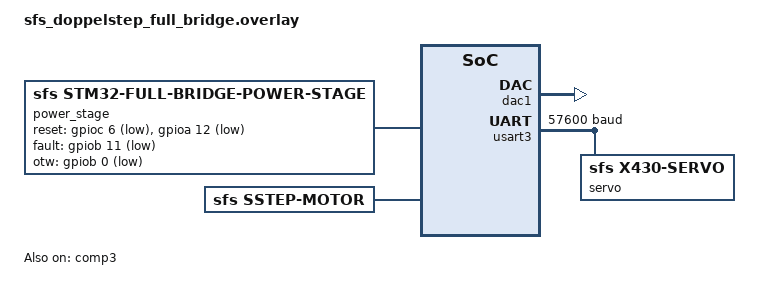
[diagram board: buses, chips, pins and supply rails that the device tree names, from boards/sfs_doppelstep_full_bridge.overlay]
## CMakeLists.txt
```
# SPDX-License-Identifier: Apache-2.0
#
# Doppelstep: stepper motor controller on B-G431B-ESC1 that answers as a
# DYNAMIXEL XM430-W350 (Protocol 2.0).

cmake_minimum_required(VERSION 3.20.0)

find_package(Zephyr REQUIRED HINTS $ENV{ZEPHYR_BASE})
project(doppelstep LANGUAGES C)

target_sources(app PRIVATE
  src/main.c
  src/app_msg.c
  src/control_task.c
  src/comm_task.c
  src/joint.c
  src/joint_bridge.c
  src/supervisor.c
  src/status_led.c
)

target_sources_ifdef(CONFIG_POWER_STAGE_SIM app PRIVATE src/sim_log.c)
# Encoder of the joint: only with chosen sfs,encoder (control_task.c)
dt_chosen(sfs_encoder_path PROPERTY "sfs,encoder")
if(sfs_encoder_path)
  target_sources(app PRIVATE src/enc_track.c)
endif()

target_link_libraries(app PRIVATE x430)

# doppelstep_config.h: factory Control Table and driver data of this build, generated
# from the devicetree (it changes only at configure time). Look, do not edit.
set(doppelstep_config_h ${CMAKE_BINARY_DIR}/doppelstep/doppelstep_config.h)
execute_process(
  COMMAND ${CMAKE_COMMAND} -E env ZEPHYR_BASE=${ZEPHYR_BASE}
          ${PYTHON_EXECUTABLE} ${CMAKE_CURRENT_LIST_DIR}/../scripts/gen_doppelstep_config.py
          --edt-pickle ${EDT_PICKLE}
          --x430-dir ${X430_SOURCE_DIR}
          --model ${CONFIG_X430_MODEL_NAME}
          --overrides "${X430_MODEL_OVERRIDES}"
          --output ${doppelstep_config_h}
  RESULT_VARIABLE doppelstep_config_result)
if(NOT doppelstep_config_result EQUAL 0)
  message(FATAL_ERROR "scripts/gen_doppelstep_config.py failed")
endif()
set_property(DIRECTORY APPEND PROPERTY CMAKE_CONFIGURE_DEPENDS
  ${CMAKE_CURRENT_LIST_DIR}/../scripts/gen_doppelstep_config.py)
message(STATUS "Doppelstep factory values: ${doppelstep_config_h}")
# doppelstep_version.h (root CMakeLists.txt): the version in the startup log
add_dependencies(app doppelstep_version)
```

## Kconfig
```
# SPDX-License-Identifier: Apache-2.0
#
# Doppelstep application options. Motor, power stage and control parameters
# are properties of the devicetree nodes (app/boards/*.overlay).

mainmenu "Doppelstep"

config SFS_STAGE_OFFSET_SAMPLES
	int "Samples averaged for the current sensor offsets at startup"
	default 1024
	range 16 65535

rsource "Kconfig.app_msg"

menu "Encoder of the joint (chosen sfs,encoder)"

config SFS_ENC_LOST_STEP_USTEPS
	int "Lost step: |commanded - measured| above [microsteps]"
	default 32
	help
	  Beyond two full steps the torque of a stepper turns round: the rotor
	  has slipped. Reported as Overload Error in Hardware Error Status.

config SFS_ENC_SETTLE_MS
	int "Holding time after Torque Enable before the alignment [ms]"
	default 100
	help
	  The rotor snaps to the field at the enable (up to two full steps);
	  then the commanded position is set to the measured one.

config SFS_ENC_CORRECT_MS
	int "Period of the position regulator at standstill [ms]"
	default 10

config SFS_ENC_CORRECTION_MAX_USTEPS
	int "Largest lead of the regulator over the goal [microsteps]"
	default 16
	help
	  One full step: the load angle of the largest holding torque.

endmenu

config SFS_STATUS_LED_BRIGHTNESS
	int "Brightness of the STATUS LED on an LED strip (red, 1..255)"
	default 32
	range 1 255
	help
	  Only for a STATUS LED on an LED strip (chosen sfs,status-led-strip).
	  32 is an eighth of the full current of the red channel.

menu "Threads"

config SFS_CONTROL_THREAD_PRIORITY
	int "Control task priority"
	default -2
	help
	  Cooperative (negative) so that the slow loop is never preempted by
	  another thread.

config SFS_CONTROL_THREAD_STACK_SIZE
	int "Control task stack size"
	default 1536

config SFS_COMM_THREAD_PRIORITY
	int "Communication task priority"
	default 2

config SFS_COMM_THREAD_STACK_SIZE
	int "Communication task stack size"
	default 3584
	help
	  Sized for the X430 emulator 1.0.0, whose status answer put two
	  buffers of CONFIG_X430_DXL2_MAX_PACKET_SIZE on this stack (DXL2-C
	  link). Since 1.1.0 the emulator builds the status packet in place, in
	  its bus instance (x430_servo_data), not on the stack. The size stays
	  until the stack usage is measured on the bench.

endmenu

menu "Supervisor"

config SFS_WATCHDOG
	bool "Hardware watchdog, fed only while every task runs"
	default y
	depends on WATCHDOG && $(dt_alias_enabled,watchdog0)
	select HWINFO
	help
	  main() feeds the watchdog only when the control and the communication
	  task have both run since the last check (src/supervisor.h). A fast
	  loop that leaves the threads no time, or a task that hangs, resets the
	  MCU, which switches the outputs off. The log tells a watchdog reset.

config SFS_WATCHDOG_TIMEOUT_MS
	int "Watchdog timeout [ms]"
	default 500
	range 200 5000
	depends on SFS_WATCHDOG
	help
	  Longer than the longest normal pause of a task: a flash page erase of
	  the EEPROM area stalls the CPU for about 20 ms.

config SFS_WATCHDOG_CHECK_MS
	int "Period of the check in main() [ms]"
	default 100
	range 10 1000

endmenu

module = SFS
module-str = doppelstep
source "subsys/logging/Kconfig.template.log_config"

source "Kconfig.zephyr"
```

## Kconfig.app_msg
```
# SPDX-License-Identifier: Apache-2.0
#
# Queues between the communication and the control task (src/app_msg.h).

config SFS_CMD_TIMEOUT_MS
	int "Time a command waits for its result [ms]"
	default 50
	help
	  After it the host gets Result Fail. A command already in the queue may
	  still execute later; the log records the timeout. Torque Enable does not
	  wait for the self-test (CONFIG_SSTEP_MOTOR_SELFTEST): the motor driver
	  ends it in the slow loop.

config SFS_STATUS_PERIOD_MS
	int "Period of the status publication [ms]"
	default 1
	range 1 1000
	help
	  The status is also published after every command. On a core without an
	  FPU reading it can be expensive with stall detection on: see
	  docs/porting.md.

module = APP_MSG
module-str = app_msg
source "subsys/logging/Kconfig.template.log_config"
```

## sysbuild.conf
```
# SPDX-License-Identifier: Apache-2.0
#
# Sysbuild configuration of the board build (west build --sysbuild): MCUboot in
# boot_partition, the signed application in slot0_partition, serial recovery on
# USART2 (docs/firmware-update.md). native_sim builds do not use sysbuild.

SB_CONFIG_BOOTLOADER_MCUBOOT=y

# One application slot: serial recovery writes slot 0 directly.
SB_CONFIG_MCUBOOT_MODE_SINGLE_APP=y

# Signature: sysbuild default (RSA-2048) with the MCUboot development key, which
# is public and only fit for development. Own key: SB_CONFIG_BOOT_SIGNATURE_KEY_FILE.
```

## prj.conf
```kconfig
# SPDX-License-Identifier: Apache-2.0
#
# Doppelstep application configuration, common to every board. Board-specific
# options: boards/<board>.conf (merged by Zephyr automatically).

# --- Libraries (glue in modules/) --------------------------
# The power stage node of the devicetree selects the topology of Stepper-C
# (modules/stepper-c/Kconfig): only the one the board uses is built.
# The motor node sets no stall time: the stall detection of Stepper-C is not used
CONFIG_SSTEP_STALL=n

CONFIG_X430_MODEL_XM430_W350=y
CONFIG_X430_MAX_DEVICES=1
CONFIG_X430_SIMULATOR=n
# DYNAMIXEL Wizard 2.0 reads the whole XM430 Control Table (addresses 0..661) in
# one READ of 662 bytes: status packet 673 bytes before byte stuffing. 256 bytes
# (default) allowed reads up to 245 bytes, and the Wizard showed TIME OUT.
# 768 leaves 95 bytes for stuffing. Two buffers of this size are in RAM (in
# x430_servo_data): the receive buffer of DXL2-C, in which it also decodes the
# packet (DXL2-C 2.0.0), and the status packet the X430 bus builds in place.
CONFIG_X430_DXL2_MAX_PACKET_SIZE=768
# Voltage limit ranges above the 16 V of an XM430 (the board runs at 24 V)
CONFIG_X430_MODEL_OVERRIDES="x430_overrides.yaml"

# --- STATUS LED --------------------------------------------------------------
CONFIG_GPIO=y

# --- Persistent EEPROM area of the emulated DYNAMIXEL ------------------------
CONFIG_FLASH=y
CONFIG_FLASH_MAP=y
CONFIG_NVS=y

# --- Logging -----------------------------------------------------------------
CONFIG_LOG=y
# No log prints a float. Without it picolibc links printf without floating point
# (the double printf with its Ryu tables was about 5 KiB of flash).
CONFIG_CBPRINTF_FP_SUPPORT=n
# Minimal logging: each message is printed at once through printk on the console
# of the board, in the context of the caller, without the deferred log thread,
# its buffer and the log backends (about 9.8 KB of flash and 2.3 KB of RAM on the
# full-bridge board). No timestamps, no colors. native_sim keeps its immediate
# mode (boards/native_sim_native_64.conf).
CONFIG_LOG_MODE_MINIMAL=y
# Small printf core: the logs use only %d, %u, %ld, %x with width, %c and %s
# (about 0.7 KB)
CONFIG_CBPRINTF_NANO=y
# No "*** Booting Zephyr OS ***" line: main.c logs "Doppelstep <version> on
# <board>" (about 1.2 KB)
CONFIG_BOOT_BANNER=n

# --- Debugging: thread awareness for OpenOCD / J-Link / gdb ------------------
CONFIG_DEBUG_THREAD_INFO=y
CONFIG_THREAD_NAME=y

CONFIG_MAIN_STACK_SIZE=2048
```

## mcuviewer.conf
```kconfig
# SPDX-License-Identifier: Apache-2.0
#
# Bench build for measurements with MCUViewer (docs/measurements.md):
#
#   west build -b b_g431b_esc1 -s app -d build-mcuviewer -- -DEXTRA_CONF_FILE=mcuviewer.conf
#
# Never for a release: the option is off by default.

CONFIG_SSTEP_MOTOR_MCUVIEWER=y
CONFIG_SSTEP_MOTOR_MCUVIEWER_SAMPLES=1024
```

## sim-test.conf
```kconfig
# SPDX-License-Identifier: Apache-2.0
#
# native_sim build of the SIL and integration tests (tests/README.md): the
# model log line every 100 ms gives the tests the rotor position, speed and
# currents of the simulated motor.

CONFIG_SFS_SIM_LOG_PERIOD_MS=100
```

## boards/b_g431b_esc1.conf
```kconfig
# SPDX-License-Identifier: Apache-2.0
#
# Doppelstep on B-G431B-ESC1 (merged with prj.conf).

# --- Cortex-M4F: FPU in threads and in the fast-loop interrupt ---------------
CONFIG_FPU=y
CONFIG_FPU_SHARING=y

# Fast loop (ADC end of sequence) above the kernel's interrupt locking
CONFIG_ZERO_LATENCY_IRQS=y

# --- Peripherals -------------------------------------------------------------
CONFIG_OPAMP=y

# IWDG, fed only while every task runs (app/src/supervisor.h)
CONFIG_WATCHDOG=y

# NVS erases and writes the internal flash
CONFIG_MPU_ALLOW_FLASH_WRITE=y

# --- Console and logging over RTT (USART2 is the DYNAMIXEL bus) --------------
CONFIG_UART_CONSOLE=n
CONFIG_USE_SEGGER_RTT=y
CONFIG_RTT_CONSOLE=y
# Minimal logging (prj.conf) has no log backends: printk writes to this console.
# It prints in the caller, also in the control task: when
# the RTT buffer is full, drop the characters instead of waiting for the host
# (the default waits up to 2 x 2 ms with a debugger attached).
CONFIG_RTT_TX_RETRY_CNT=0
```

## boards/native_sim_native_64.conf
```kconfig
# SPDX-License-Identifier: Apache-2.0
#
# Doppelstep on native_sim/native/64: the firmware as a Linux program, the
# simulated motor (sfs,sim-power-stage in the overlay), the DYNAMIXEL bus
# on a pseudoterminal (uart1). Merged with prj.conf.

# 1 ms tick = slow-loop period; the simulation backend runs the 20 fast-loop
# periods (20 kHz PWM of the ESC1) of each tick in one timer expiry
CONFIG_SYS_CLOCK_TICKS_PER_SEC=1000

# Logs on stdout of the program
CONFIG_LOG_BACKEND_NATIVE_POSIX=y
CONFIG_LOG_MODE_IMMEDIATE=y
```

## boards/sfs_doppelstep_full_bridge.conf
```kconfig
# SPDX-License-Identifier: Apache-2.0
#
# Doppelstep on the full-bridge board with the DRV8412 (merged with prj.conf).

# --- Cortex-M4F: FPU in threads and in the fast-loop interrupt ---------------
CONFIG_FPU=y
CONFIG_FPU_SHARING=y

# Fast loop (ADC end of sequence) above the kernel's interrupt locking
CONFIG_ZERO_LATENCY_IRQS=y

# --- Peripherals -------------------------------------------------------------
# OPAMP1/2 standalone, gain from the board
CONFIG_OPAMP=y

# Encoder of the joint: MA730 on SPI2 (drivers/ma730), through the sensor API
CONFIG_SENSOR=y

# STATUS LED: first WS2812B of the chain (drivers/ws2812, TIM2 CH2 with DMA)
CONFIG_LED_STRIP=y

# IWDG, fed only while every task runs (app/src/supervisor.h)
CONFIG_WATCHDOG=y

# NVS erases and writes the internal flash
CONFIG_MPU_ALLOW_FLASH_WRITE=y

# --- Console and logging over RTT (USART3 on J4 is the DYNAMIXEL bus) --------
CONFIG_UART_CONSOLE=n
CONFIG_USE_SEGGER_RTT=y
CONFIG_RTT_CONSOLE=y
# Minimal logging (prj.conf) has no log backends: printk writes to this console.
# It prints in the caller, also in the control task: when
# the RTT buffer is full, drop the characters instead of waiting for the host
# (the default waits up to 2 x 2 ms with a debugger attached).
CONFIG_RTT_TX_RETRY_CNT=0
```

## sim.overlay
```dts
/*
 * SPDX-License-Identifier: Apache-2.0
 *
 * Simulated motor on the board: the fast-loop interrupt of the real power stage
 * keeps its timing, Stepper-C drives a motor model and the gate drivers stay off.
 *   west build -b b_g431b_esc1 app -- -DEXTRA_DTC_OVERLAY_FILE=sim.overlay
 * See docs/simulation.md.
 */

/ {
	sim_stage: sim-power-stage {
		compatible = "sfs,sim-power-stage";
		timebase = <&power_stage>;
		microsteps = <16>;
		full-steps-per-rev = <200>;
	};
};

&motor {
	power-stage = <&sim_stage>;
};

/* The real stage is only the timebase here, its outputs stay off: no hardware
 * trips and no offset check (they need flash the simulated motor has not got).
 */
&power_stage {
	/delete-property/ hw-trip-current-milliamp;
	/delete-property/ hw-trip-current-comparators;
	/delete-property/ hw-trip-vbus-mv;
	/delete-property/ hw-trip-vbus-comparator;
	/delete-property/ current-offset-min-counts;
	/delete-property/ current-offset-max-counts;
};

/* Without the hardware trips their comparators and DACs are not built */
&comp1 {
	status = "disabled";
};

&comp2 {
	status = "disabled";
};

&comp3 {
	status = "disabled";
};

&comp4 {
	status = "disabled";
};

&dac1 {
	status = "disabled";
};

&dac3 {
	status = "disabled";
};
```

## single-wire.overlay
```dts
/*
 * SPDX-License-Identifier: Apache-2.0
 *
 * DYNAMIXEL bus on one wire (TTL half-duplex, like the X series): USART2 in
 * single-wire mode on PB3 (pad J3-2), open-drain, for the shared bus of the arm.
 *   west build --sysbuild -b b_g431b_esc1 -s app -- -DEXTRA_DTC_OVERLAY_FILE=single-wire.overlay
 *
 * Every device only pulls the line low; the single pull-up of the bus is at the
 * master (the bus interface of the Robot PC). PB4 (J3-3) stays unused. The ST-LINK
 * virtual COM port shares PB3/PB4 (R23/R24): leave its USB unplugged on the bus.
 * The drive receives the echo of its own bytes; the X430 bus decodes it as a status
 * packet and ignores it. MCUboot keeps the full-duplex UART (serial recovery over
 * the ST-LINK virtual COM port). See docs/hardware.md, "The DYNAMIXEL bus".
 */

&usart2 {
	single-wire;
	pinctrl-0 = <&usart2_tx_pb3>;
	pinctrl-names = "default";
};

&usart2_tx_pb3 {
	/delete-property/ drive-push-pull;
	drive-open-drain;
	bias-pull-up;
};
```

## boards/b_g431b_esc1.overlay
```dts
/*
 * SPDX-License-Identifier: Apache-2.0
 *
 * Doppelstep on B-G431B-ESC1.
 */

/ {
	chosen {
		/* USART2 carries the DYNAMIXEL bus; console and logs go to RTT. */
		/delete-property/ zephyr,console;
		/delete-property/ zephyr,shell-uart;
		sfs,servo = &servo;
		sfs,motor = &motor;
	};

	power_stage: power-stage {
		compatible = "sfs,stm32-shared-leg-power-stage";
		pinctrl-0 = <&tim1_ch1_pa8 &tim1_ch1n_pc13
			     &tim1_ch2_pa9 &tim1_ch2n_pa12
			     &tim1_ch3_pa10 &tim1_ch3n_pb15
			     &adc1_in1_pa0 &adc1_in5_pb14>;
		pinctrl-names = "default";

		timer = <&timers1>;
		adc-master = <&adc1>;
		adc-slave = <&adc2>;
		opamps = <&opamp1 &opamp2 &opamp3>;
		opamp-gain = "OPAMP_GAIN_16";

		/* 20 kHz: TIM1 at 170 MHz, center-aligned, ARR = 4250 */
		pwm-frequency = <20000>;

		/*
		 * Dead time of the ESC1 bridge (0 = not set: outputs refused).
		 * Source: ngspice sweep of one leg (sfs-stepper-power-spice) with
		 * the gate circuit of schematic MB1419 rev C: L6387ED at 10 V,
		 * 33 Ohm gate resistors without turn-off diode, 10k G-S, snubber
		 * 1 Ohm + 10 nF; 24 V, 20 kHz, 25 and 100 degC, -3..+3 A.
		 * Shoot-through up to 600 ns; from 900 ns the Miller bump on the
		 * off gate stays under VGS(th) 3 V. 1200 ns = 900 ns x 1.3 margin
		 * for VGS(th) spread, driver delay mismatch and the fitted MOSFET
		 * model. Reduce only after measuring VGS on the board
		 * (docs/hardware.md, bring-up step 1).
		 */
		dead-time-ns = <1200>;

		/* Low-side time around the top of the counter for the samples: before
		 * the ADC trigger the dead time (1.2 us) and about 1 us of settling,
		 * after it the sampling phases: U x4 (ADC1) and V x4 (ADC2) to 1.5 us,
		 * then W (ADC1) and VBUS (ADC2) to about 2.1 us. Without
		 * it a duty cycle near 100 % (a 1 A current step at 12 V) corrupted the
		 * VBUS sample and tripped the undervoltage protection on the board.
		 * 2400 ns = 408 of 4250 ticks: the voltage limit drops by 9.6 %.
		 */
		sample-window-ns = <2400>;

		/* OP1_OUT PA2 = ADC1_IN3, OP2_OUT PA6 = ADC2_IN3,
		 * OP3_OUT PB1 = ADC1_IN12, VBUS PA0 = ADC12_IN1 (converted by ADC2)
		 */
		phase-u-channel = <3>;
		phase-v-channel = <3>;
		phase-w-channel = <12>;
		vbus-channel = <1>;

		/* Power stage temperature (schematic MB1419 rev C, sheets 4 and 6):
		 * +3.3 V - RT1 NTC - PB14 (ADC1_IN5) - R60 4.7k - GND, C66 10 nF.
		 * RT1 = TDK NTCG103JF103FT1: R25 10 kOhm +-1 %, B25/85 3435 K +-1 %
		 * (B25/50 3380 K; B25/85 fits the 80 degC Temperature Limit).
		 */
		temperature-channel = <5>;
		/* Factory Temperature Limit (31): 80 degC, as before (XM430 value) */
		temperature-limit-celsius = <80>;
		ntc-r25-ohm = <10000>;
		ntc-beta = <3435>;
		ntc-bottom-ohm = <4700>;

		adc-vref-mv = <3300>;

		/* 3 mOhm shunts, -64/7 = -9.143 V/V (MCSDK, NuttX, SimpleFOC) */
		shunt-micro-ohms = <3000>;
		current-sense-gain-milli = <(-9143)>;

		/* 18k / (18k + 169k) */
		vbus-divider = <18000 169000>;

		/* Hardware trips (schematic MB1419 rev C, sheet 6): each OPAMP+
		 * input is the shunt through 1.5k with 22k to +3.3 V and 2.2k to
		 * GND, V+ = 0.129 V + 4/7 Vshunt (1.71 mV/A); the comparator offset
		 * of +-5 mV is about +-3 A. 10 A: about 3 x trip-current-milliamp
		 * of the motor. 30 V: above vbus-max-mv (28 V). Comparators and
		 * DACs: nodes below.
		 */
		hw-trip-current-milliamp = <10000>;
		hw-trip-current-comparators = <&comp1 &comp2 &comp4>;
		hw-trip-vbus-mv = <30000>;
		hw-trip-vbus-comparator = <&comp3>;

		/* Offsets measured on the board: 2534 (U), 2528 counts = 16 x 0.129 V */
		current-offset-min-counts = <2300>;
		current-offset-max-counts = <2800>;
	};

	motor: motor {
		compatible = "sfs,sstep-motor";
		power-stage = <&power_stage>;

		/* 17HS19-2004S1 */
		phase-resistance-milliohm = <1600>;
		phase-inductance-microhenry = <3000>;
		rated-current-milliamp = <2000>;
		back-emf-uv-s-per-rad = <208600>;
		full-steps-per-rev = <200>;

		vbus-nominal-mv = <24000>;
		vbus-min-mv = <10000>;
		vbus-max-mv = <28000>;
		trip-current-milliamp = <3500>;
		/* The current rises at 30 mA/ms after Torque Enable (1.5 A in 50 ms):
		 * no step on the supply
		 */
		current-slew-ma-per-ms = <30>;
		/* Self-test before the first Torque Enable: 30 % of the rated current */
		selftest-current-milliamp = <600>;
		aux-trip;
		/* Dead-time compensation: the effective dead time measured on this board at
		 * 24 V (docs/measurements.md), not the 1200 ns of the timer
		 */
		dead-time-comp-ns = <1050>;
		dead-time-comp-band-milliamp = <250>;

		slow-loop-hz = <1000>;
		microsteps = <16>;
		current-bandwidth-hz = <1000>;
		run-current-milliamp = <1500>;
		hold-current-milliamp = <500>;
		hold-delay-ms = <500>;
		max-velocity = <16000>;
		max-acceleration = <64000>;

		motor_drv: driver {
			compatible = "sfs,sstep-stepper-driver";
		};

		motor_ctrl: ctrl {
			compatible = "sfs,sstep-stepper-ctrl";
		};
	};
};

/* Hardware trip comparators of the power stage (Zephyr comparator driver): the
 * OPAMP+ inputs of U, V, W (PA1, PA7, PB0, input IO1 = "IN0") against DAC3, the
 * bus divider (PA0) against DAC1 channel 1. Without interrupts: they act only
 * through the break inputs of TIM1, routed by the backend. The Miller hold of
 * the G4 comparators stays off, as measured on this board (docs/protection.md).
 */
&comp1 {
	positive-input = "IN0";
	negative-input = "DAC3_CH1";
	st,miller-effect-hold-disable;
	status = "okay";
};

&comp2 {
	positive-input = "IN0";
	negative-input = "DAC3_CH2";
	st,miller-effect-hold-disable;
	status = "okay";
};

&comp4 {
	positive-input = "IN0";
	negative-input = "DAC3_CH2";
	st,miller-effect-hold-disable;
	status = "okay";
};

&comp3 {
	positive-input = "IN0";
	negative-input = "DAC1_CH1";
	st,miller-effect-hold-disable;
	status = "okay";
};

/* Trip levels only, connected internally (no pin) */
&dac1 {
	status = "okay";
};

&dac3 {
	status = "okay";
};

/* DYNAMIXEL Protocol 2.0 bus: ST-LINK VCP for now. 57600 bps until the Baud Rate
 * register is applied at startup: factory-baud-code 1 = 57600 bps, as an XM430.
 * MCUboot keeps 1 Mbps (app/sysbuild/mcuboot.overlay).
 */
&usart2 {
	current-speed = <57600>;
	fifo-enable;

	servo: dxl-servo {
		compatible = "sfs,x430-servo";
		storage = <&storage_partition>;

		/* 17HS19-2004S1 in direct drive: one joint revolution = one motor
		 * revolution = 4096 pulses of the XM430 = 200 x 16 = 3200 microsteps.
		 * With a gearbox: motor revolutions per joint revolution.
		 */
		gear-motor-revs = <1>;
		gear-joint-revs = <1>;
	};
};
```

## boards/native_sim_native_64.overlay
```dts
/*
 * SPDX-License-Identifier: Apache-2.0
 *
 * Doppelstep on native_sim/native/64: DYNAMIXEL bus on the second PTY UART.
 * The program prints "uart_1 connected to pseudotty: /dev/pts/N" at start;
 * tools/sim/run_native.py links it to a fixed path (see the README).
 */

/ {
	chosen {
		sfs,servo = &servo;
		sfs,motor = &motor;
		/* Fitted only with -sim_encoder (sim_encoder.c): open loop otherwise */
		sfs,encoder = &sim_encoder;
	};

	/* Shaft encoder on the motor model, as the MA730 of the full-bridge board */
	sim_encoder: sim-encoder {
		compatible = "sfs,sim-encoder";
		stage = <&sim_stage>;
	};

	/* The simulated motor, with the ESC1 values of boards/b_g431b_esc1.overlay */
	sim_stage: sim-power-stage {
		compatible = "sfs,sim-power-stage";
		pwm-frequency = <20000>;
		timer-clock-hz = <170000000>;
		adc-vref-mv = <3300>;
		shunt-micro-ohms = <3000>;
		current-sense-gain-milli = <(-9143)>;
		vbus-divider = <18000 169000>;
		microsteps = <16>;
		full-steps-per-rev = <200>;
	};

	motor: motor {
		compatible = "sfs,sstep-motor";
		power-stage = <&sim_stage>;

		/* 17HS19-2004S1 */
		phase-resistance-milliohm = <1600>;
		phase-inductance-microhenry = <3000>;
		rated-current-milliamp = <2000>;
		back-emf-uv-s-per-rad = <208600>;
		full-steps-per-rev = <200>;

		vbus-nominal-mv = <24000>;
		vbus-min-mv = <10000>;
		vbus-max-mv = <28000>;
		trip-current-milliamp = <3500>;
		aux-trip;

		slow-loop-hz = <1000>;
		microsteps = <16>;
		current-bandwidth-hz = <1000>;
		run-current-milliamp = <1500>;
		hold-current-milliamp = <500>;
		hold-delay-ms = <500>;
		max-velocity = <16000>;
		max-acceleration = <64000>;

		motor_drv: driver {
			compatible = "sfs,sstep-stepper-driver";
		};

		motor_ctrl: ctrl {
			compatible = "sfs,sstep-stepper-ctrl";
		};
	};
};

&uart1 {
	status = "okay";
	current-speed = <57600>;

	servo: dxl-servo {
		compatible = "sfs,x430-servo";
		storage = <&storage_partition>;
	};
};
```

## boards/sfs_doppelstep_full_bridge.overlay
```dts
/*
 * SPDX-License-Identifier: Apache-2.0
 *
 * Doppelstep on the full-bridge board: TI DRV8412, 17HS19-2004S1 stepper motor.
 * Values from the schematic Stepper-Motor-FOC-Driver (KiCad 8); the measured values
 * of the bring-up replace the marked estimates (docs/hardware-full-bridge.md).
 */

/ {
	chosen {
		/* USART3 carries the DYNAMIXEL bus; console and logs go to RTT. */
		sfs,servo = &servo;
		sfs,motor = &motor;
		/* MA730 on SPI2 (board devicetree); checked at startup */
		sfs,encoder = &encoder;
		/* STATUS LED: the first WS2812B of the chain on PB3 (board devicetree) */
		sfs,status-led-strip = &leds;
	};

	power_stage: power-stage {
		compatible = "sfs,stm32-full-bridge-power-stage";
		pinctrl-0 = <&tim1_ch1_pa8 &tim1_ch2_pa9 &tim1_ch3_pa10 &tim1_ch4_pa11
			     &adc1_in1_pa0 &adc2_in17_pa4>;
		pinctrl-names = "default";

		timer = <&timers1>;
		adc-master = <&adc1>;
		adc-slave = <&adc2>;
		/* standalone: the gain comes from the feedback network of the board */
		opamps = <&opamp1 &opamp2>;

		/* 20 kHz: TIM1 at 170 MHz, center-aligned, ARR = 4250; CH1..CH4 drive
		 * PWM_A..PWM_D, the internal CH6 triggers the ADCs
		 */
		pwm-frequency = <20000>;
		adc-trigger-channel = <6>;

		/* The DRV8412 inserts its own dead time (5.5 ns typical) and has no
		 * dead-time setting: 0 here. The effective dead time of its propagation
		 * delays is measured in the bring-up (dead-time-comp-ns of the motor).
		 */
		dead-time-ns = <0>;

		/* Estimate, to be measured: the gate driver delay (about 100 ns) and the
		 * settling of the amplifiers (OPAMP GBW 13 MHz at gain 26.5: about
		 * 0.5 MHz, some 1.5 us to 12 bit) before the trigger, the sampling of
		 * A and VBUS (about 0.9 us) after it. 2000 ns = 340 of 4250 ticks: the
		 * voltage limit drops by 8 %. Also keeps every high side off for 4 us
		 * per period, far more than the 50 ns the bootstrap needs.
		 */
		sample-window-ns = <2000>;

		/* OPAMP1 out PA2 = ADC1_IN3 (I_A), OPAMP2 out PA6 = ADC2_IN3 (I_B),
		 * VBUS PA0 = ADC1_IN1, NTC PA4 = ADC2_IN17
		 */
		phase-a-channel = <3>;
		phase-b-channel = <3>;
		vbus-channel = <1>;

		/* NTC as on the B-G431B-ESC1 (TDK NTCG103JF103FT1: R25 10 kOhm, B25/85
		 * 3435 K): +3.3VADC - TH1 - PA4 - R19 10k - GND, C18 10 nF
		 */
		temperature-channel = <17>;
		temperature-limit-celsius = <80>;
		ntc-r25-ohm = <10000>;
		ntc-beta = <3435>;
		ntc-bottom-ohm = <10000>;

		/* RESET_AB PC6, RESET_CD PA12 (low: bridge high impedance), FAULT PB11,
		 * OTW PB0: open drain with pull-up to VREG inside the DRV8412
		 */
		reset-gpios = <&gpioc 6 GPIO_ACTIVE_LOW>, <&gpioa 12 GPIO_ACTIVE_LOW>;
		fault-gpios = <&gpiob 11 GPIO_ACTIVE_LOW>;
		otw-gpios = <&gpiob 0 GPIO_ACTIVE_LOW>;

		adc-vref-mv = <3300>;

		/* 10 mOhm shunts R25 (GND_A) and R15 (GND_D). The + input of each
		 * amplifier is the shunt through 1k with 51k to +3.3VADC and 51k to GND:
		 * V+ = 0.0623 V + 0.962 x Vshunt; the feedback 1k / 25.5k gives 26.5 from
		 * there, so 1.65 V at 0 A (2048 counts) and 25.5 V/V from the shunt
		 * (label k = 25.5): 6.47 A full scale.
		 */
		shunt-micro-ohms = <10000>;
		current-sense-gain-milli = <25500>;

		/* The shunt of phase A sits in the low-side path of leg A+, that of
		 * phase B in leg B-: at the sample (all low sides on) a positive coil A
		 * current flows up through R25 (reading below the offset), a positive
		 * coil B current down through R15 (above). current-sense-invert turns
		 * both, phase-b-sense-invert turns B back. Check in bring-up step 3.
		 */
		current-sense-invert;
		phase-b-sense-invert;

		/* 10k / (10k + 100k): 36.3 V full scale */
		vbus-divider = <10000 100000>;

		/* Hardware overvoltage trip only (COMP3 on PA0 against DAC1 channel 1):
		 * the DRV8412 protects its switches itself (cycle-by-cycle current limit
		 * at about 5.8 A with R31 47k, overcurrent shutdown on FAULT), so no
		 * current comparators: their shared interrupt line would cost about
		 * 2 KB of flash (docs/protection.md). 30 V: above vbus-max-mv (28 V).
		 */
		hw-trip-vbus-mv = <30000>;
		hw-trip-vbus-comparator = <&comp3>;

		/* 2048 counts expected (1.65 V); +-10 % for the resistor spread */
		current-offset-min-counts = <1850>;
		current-offset-max-counts = <2250>;
	};

	motor: motor {
		compatible = "sfs,sstep-motor";
		power-stage = <&power_stage>;

		/* 17HS19-2004S1 */
		phase-resistance-milliohm = <1600>;
		phase-inductance-microhenry = <3000>;
		rated-current-milliamp = <2000>;
		back-emf-uv-s-per-rad = <208600>;
		full-steps-per-rev = <200>;

		/* 24 V board: the DRV8412 gate supply comes from a buck converter on
		 * the bus (U2), which needs about 12 V at its input
		 */
		vbus-nominal-mv = <24000>;
		vbus-min-mv = <12000>;
		vbus-max-mv = <28000>;
		trip-current-milliamp = <3500>;
		current-slew-ma-per-ms = <30>;
		selftest-current-milliamp = <600>;
		aux-trip;

		slow-loop-hz = <1000>;
		microsteps = <16>;
		current-bandwidth-hz = <1000>;
		run-current-milliamp = <1500>;
		hold-current-milliamp = <500>;
		hold-delay-ms = <500>;
		max-velocity = <16000>;
		max-acceleration = <64000>;

		motor_drv: driver {
			compatible = "sfs,sstep-stepper-driver";
		};

		motor_ctrl: ctrl {
			compatible = "sfs,sstep-stepper-ctrl";
		};
	};
};

/* Hardware overvoltage trip: the bus divider (PA0, input IO1 = "IN0") against DAC1
 * channel 1, connected internally; the backend routes the output to BRK2 of TIM1.
 * The Miller hold of the G4 comparators stays off, as on the B-G431B-ESC1.
 */
&comp3 {
	positive-input = "IN0";
	negative-input = "DAC1_CH1";
	st,miller-effect-hold-disable;
	status = "okay";
};

&dac1 {
	status = "okay";
};

/* DYNAMIXEL Protocol 2.0 bus on J4: 57600 bps until the Baud Rate register is
 * applied at startup (factory-baud-code 1, as an XM430). MCUboot keeps 1 Mbps
 * (app/sysbuild/mcuboot.overlay).
 */
&usart3 {
	current-speed = <57600>;
	fifo-enable;

	servo: dxl-servo {
		compatible = "sfs,x430-servo";
		storage = <&storage_partition>;

		/* 17HS19-2004S1 in direct drive: one joint revolution = one motor
		 * revolution = 4096 pulses of the XM430 = 200 x 16 = 3200 microsteps.
		 */
		gear-motor-revs = <1>;
		gear-joint-revs = <1>;
	};
};
```

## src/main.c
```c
/*
 * SPDX-License-Identifier: Apache-2.0
 *
 * Doppelstep: 17HS19-2004S1 stepper motor on the B-G431B-ESC1 or the full-bridge board,
 * controlled by Stepper-C, seen by the host as a DYNAMIXEL XM430-W350 (Protocol 2.0).
 *
 * The drivers have initialised themselves, with the outputs off. main() measures
 * the current sensor offsets, starts the control task, connects the servo to the
 * motor and starts the communication task. Until then nothing can send a command, so
 * the motor cannot start with uncalibrated sensors. Then main() shows the state on the
 * STATUS LED.
 */

#include <errno.h>

#include <doppelstep_version.h>
#include <zephyr/device.h>
#include <zephyr/devicetree.h>
#include <zephyr/kernel.h>
#include <zephyr/logging/log.h>

#include <doppelstep/drivers/power_stage.h>

#include <doppelstep/drivers/x430_servo.h>

#include "app_msg.h"
#include "app_tasks.h"
#include "joint_bridge.h"
#include "status_led.h"
#include "supervisor.h"

/* The startup check of the field flags is specific to the MA730 */
#define ENCODER_MA730                                                                              \
	COND_CODE_1(DT_HAS_CHOSEN(sfs_encoder),                                                    \
		    (DT_NODE_HAS_COMPAT(DT_CHOSEN(sfs_encoder), sfs_ma730)), (0))

#if ENCODER_MA730
#include <doppelstep/drivers/ma730.h>
#endif

LOG_MODULE_REGISTER(main, CONFIG_SFS_LOG_LEVEL);

#define MOTOR_NODE DT_CHOSEN(sfs_motor)

static const struct device *const stage = DEVICE_DT_GET(DT_PHANDLE(MOTOR_NODE, power_stage));
static const struct device *const motor = DEVICE_DT_GET(MOTOR_NODE);
static const struct device *const motor_drv = DEVICE_DT_GET(DT_CHILD(MOTOR_NODE, driver));
static const struct device *const motor_ctrl = DEVICE_DT_GET(DT_CHILD(MOTOR_NODE, ctrl));
static const struct device *const servo = DEVICE_DT_GET(DT_CHOSEN(sfs_servo));

/* STATUS LED, as the LED of an XM430: the LED register (65) switches it on and off,
 * and an alarm makes it blink fast whatever the register says: a fault of the motor,
 * a bit in Hardware Error Status (70) or a startup error. The same loop checks the
 * tasks every CONFIG_SFS_WATCHDOG_CHECK_MS and feeds the watchdog (supervisor.h).
 */
#define LED_ALARM_PERIOD_MS 100

static bool led_alarm(void)
{
	struct app_status status;
	int32_t hw_error;

	status.motor.state = SSTEP_MOTOR_DISABLED;
	(void)app_status_get(&status);

	x430_servo_lock(servo);
	hw_error = x430_servo_reg_get(servo, X430_ADDR_HARDWARE_ERROR_STATUS);
	x430_servo_unlock(servo);

	return (status.motor.state == SSTEP_MOTOR_FAULT) || (hw_error != 0);
}

static bool led_register(void)
{
	int32_t value;

	x430_servo_lock(servo);
	value = x430_servo_reg_get(servo, X430_ADDR_LED);
	x430_servo_unlock(servo);

	return value != 0;
}

static void status_led_loop(bool startup_failed)
{
	bool on = false;
	int32_t since_toggle_ms = 0;

	for (;;) {
		k_msleep(CONFIG_SFS_WATCHDOG_CHECK_MS);
		if (startup_failed) {
			/* The comm task may never have started, so no command can come
			 * and the outputs stay off: keep the fast blink instead of a
			 * reset loop, even if the watchdog already runs.
			 */
			supervisor_checkin(SUPERVISOR_CONTROL);
			supervisor_checkin(SUPERVISOR_COMM);
		}
		(void)supervisor_poll();
		since_toggle_ms += CONFIG_SFS_WATCHDOG_CHECK_MS;

		/* Without a successful startup the servo may not be connected:
		 * its registers are not read.
		 */
		if (startup_failed || led_alarm()) {
			if (since_toggle_ms >= LED_ALARM_PERIOD_MS) {
				since_toggle_ms = 0;
				on = !on;
			}
		} else {
			since_toggle_ms = 0;
			on = led_register();
		}
		status_led_set(on);
	}
}

#if ENCODER_MA730
/* Encoder check at startup: it answers, and the magnet is in range. Not fatal: the
 * motor runs open loop without it.
 */
static void encoder_check(void)
{
	const struct device *const enc = DEVICE_DT_GET(DT_CHOSEN(sfs_encoder));
	bool high = false;
	bool low = false;
	uint16_t angle = 0U;

	if (!device_is_ready(enc) || (ma730_read_field(enc, &high, &low) != 0) ||
	    (ma730_read_angle(enc, &angle) != 0)) {
		LOG_WRN("encoder %s does not answer", enc->name);
		return;
	}
	if (high || low) {
		LOG_WRN("encoder: magnetic field %s the threshold, angle %u/65536",
			high ? "above" : "below", angle);
	} else {
		LOG_INF("encoder: angle %u/65536, field in range", angle);
	}
}
#endif

static int startup(void)
{
	int ret;

	if (!device_is_ready(stage) || !device_is_ready(motor) || !device_is_ready(motor_drv) ||
	    !device_is_ready(motor_ctrl) || !device_is_ready(servo)) {
		return -ENODEV;
	}

	/* -EIO: an offset outside its window (broken amplifier, shunt or bias). The
	 * stage refuses its outputs; the bus still runs and reports Electrical Shock.
	 */
	ret = power_stage_calibrate(stage, CONFIG_SFS_STAGE_OFFSET_SAMPLES);
	const bool sensor_fault = (ret == -EIO);

#if ENCODER_MA730
	encoder_check();
#endif

	if ((ret != 0) && !sensor_fault) {
		return ret;
	}

	/* Without the watchdog the tasks do not start, so the outputs stay off. The
	 * first check comes CONFIG_SFS_WATCHDOG_CHECK_MS later, with both tasks running.
	 */
	ret = supervisor_start();
	if (ret != 0) {
		return ret;
	}

	/* Runs at once: higher priority, and it publishes the first status */
	k_thread_start(control_task_id);

	ret = joint_bridge_init(servo);
	if (ret != 0) {
		return ret;
	}
	if (sensor_fault) {
		x430_servo_lock(servo);
		x430_servo_raise_hw_error(servo, X430_HW_ERROR_ELECTRICAL_SHOCK);
		x430_servo_unlock(servo);
	}

	k_thread_start(comm_task_id);
	return 0;
}

int main(void)
{
	int ret;

	LOG_INF("Doppelstep %s on %s", DOPPELSTEP_VERSION_STRING, CONFIG_BOARD_TARGET);

	status_led_init();

	ret = startup();
	if (ret != 0) {
		LOG_ERR("startup failed: %d", ret);
	}

	status_led_loop(ret != 0);
	return 0;
}
```

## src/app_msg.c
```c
/*
 * SPDX-License-Identifier: Apache-2.0
 *
 * See app_msg.h.
 */

#include "app_msg.h"

#include <errno.h>

#include <zephyr/logging/log.h>
#include <zephyr/sys/atomic.h>

LOG_MODULE_REGISTER(app_msg, CONFIG_APP_MSG_LOG_LEVEL);

K_MSGQ_DEFINE(cmd_q, sizeof(struct app_cmd), 2, 4);
K_MSGQ_DEFINE(rsp_q, sizeof(struct app_rsp), 2, 4);
K_MSGQ_DEFINE(status_q, sizeof(struct app_status), 1, 4);

static atomic_t rsp_dropped;

int app_call(enum app_cmd_op op, int32_t arg0, uint32_t arg1, uint32_t arg2)
{
	static uint32_t seq;
	const struct app_cmd cmd = {
		.seq = ++seq,
		.op = op,
		.arg0 = arg0,
		.arg1 = arg1,
		.arg2 = arg2,
	};
	const k_timepoint_t end = sys_timepoint_calc(K_MSEC(CONFIG_SFS_CMD_TIMEOUT_MS));

	if (k_msgq_put(&cmd_q, &cmd, K_NO_WAIT) != 0) {
		return -EBUSY;
	}

	for (;;) {
		struct app_rsp rsp;

		if (k_msgq_get(&rsp_q, &rsp, sys_timepoint_timeout(end)) != 0) {
			LOG_ERR("command %d: no result", (int)op);
			return -ETIMEDOUT;
		}
		if (rsp.seq == cmd.seq) {
			return rsp.err;
		}
		/* the late answer of a command that timed out */
	}
}

int app_cmd_next(struct app_cmd *cmd, k_timeout_t timeout)
{
	return k_msgq_get(&cmd_q, cmd, timeout);
}

void app_cmd_done(const struct app_cmd *cmd, int err)
{
	const struct app_rsp rsp = {.seq = cmd->seq, .err = err};

	if (k_msgq_put(&rsp_q, &rsp, K_NO_WAIT) != 0) {
		(void)atomic_inc(&rsp_dropped);
	}
}

void app_status_publish(const struct app_status *status)
{
	/* Safe between the two calls: the publisher is a cooperative thread that outranks
	 * every reader on a single core; a reader that still sees the queue empty keeps
	 * its previous copy.
	 */
	k_msgq_purge(&status_q);
	(void)k_msgq_put(&status_q, status, K_NO_WAIT);
}

int app_status_get(struct app_status *status)
{
	return k_msgq_peek(&status_q, status);
}

uint32_t app_rsp_dropped(void)
{
	return (uint32_t)atomic_get(&rsp_dropped);
}
```

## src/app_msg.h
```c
/*
 * SPDX-License-Identifier: Apache-2.0
 *
 * The queues between the communication and the control task. Messages travel by
 * value. The control task never waits on an outgoing queue, so the communication
 * side cannot stall the control loop.
 *
 *   comm task     app_call() ---- cmd_q ---->  app_cmd_next()   control task
 *                            <--- rsp_q -----  app_cmd_done()
 *   any reader    app_status_get() <- status_q - app_status_publish()
 */

#ifndef DOPPELSTEP_APP_MSG_H_
#define DOPPELSTEP_APP_MSG_H_

#include <stdbool.h>
#include <stdint.h>

#include <zephyr/kernel.h>

#include <doppelstep/drivers/sstep_motor.h>

#ifdef __cplusplus
extern "C" {
#endif

enum app_cmd_op {
	APP_CMD_ENABLE,       /**< Outputs on, hold the position. */
	APP_CMD_DISABLE,      /**< Outputs off. */
	APP_CMD_MOVE_TO,      /**< arg0 target [microsteps], arg1 speed, arg2 acceleration. */
	APP_CMD_RUN,          /**< arg0 velocity [microsteps/s], arg1 speed, arg2 acceleration. */
	APP_CMD_STOP,         /**< Decelerate to standstill. */
	APP_CMD_SET_POSITION, /**< arg0 position [microsteps]; the rotor does not move. */
	APP_CMD_SET_CURRENT,  /**< arg1 run, arg2 hold [mA]. */
	APP_CMD_CLEAR_FAULTS, /**< Clear the faults; outputs stay off. */
	APP_CMD_SET_GAIN,     /**< arg1 Position P Gain of the encoder regulator (0..16383). */
};

struct app_cmd {
	uint32_t seq; /**< Set by app_call(). */
	enum app_cmd_op op;
	int32_t arg0;
	uint32_t arg1;
	uint32_t arg2;
};

struct app_rsp {
	uint32_t seq; /**< Of the command. */
	int err;      /**< 0 or -errno. */
};

extern struct k_msgq cmd_q;
extern struct k_msgq rsp_q;
extern struct k_msgq status_q;

/**
 * @brief Send a command and wait for its result, at most CONFIG_SFS_CMD_TIMEOUT_MS.
 *        Communication task only: one command is in flight at a time.
 * @return The result of the control side, -EBUSY when the queue is full, -ETIMEDOUT
 *         when no answer came; the late answer is discarded by a later call.
 */
int app_call(enum app_cmd_op op, int32_t arg0, uint32_t arg1, uint32_t arg2);

/** Control task: next command; returns as k_msgq_get(). */
int app_cmd_next(struct app_cmd *cmd, k_timeout_t timeout);

/** Control task: result of a command. Never blocks; a full queue counts a drop. */
void app_cmd_done(const struct app_cmd *cmd, int err);

/** Encoder of the joint (chosen sfs,encoder), from the control task (enc_track.h). */
struct app_enc_status {
	bool valid;       /**< Measured position available (encoder present and read). */
	bool fault;       /**< Encoder fault: reads failed; latched. */
	bool correcting;  /**< The running move is a correction of the regulator. */
	int32_t position; /**< Measured position [microsteps], coordinate of the motor. */
	uint32_t lost;    /**< Lost steps detected since the start. */
};

/** What the control task publishes. */
struct app_status {
	struct sstep_motor_status motor;
	struct app_enc_status enc; /**< All zero without an encoder. */
};

/** Control task: publish the status; it replaces the previous one. */
void app_status_publish(const struct app_status *status);

/** Latest status, any thread. @return 0, or -ENOMSG before the first publication. */
int app_status_get(struct app_status *status);

/** Results dropped by app_cmd_done() since start. */
uint32_t app_rsp_dropped(void);

#ifdef __cplusplus
}
#endif

#endif /* DOPPELSTEP_APP_MSG_H_ */
```

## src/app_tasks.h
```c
/*
 * SPDX-License-Identifier: Apache-2.0
 *
 * The application tasks. They are created stopped; main() starts them after a
 * successful initialisation.
 */

#ifndef DOPPELSTEP_APP_TASKS_H_
#define DOPPELSTEP_APP_TASKS_H_

#include <zephyr/kernel.h>

extern const k_tid_t control_task_id;
extern const k_tid_t comm_task_id;

#endif /* DOPPELSTEP_APP_TASKS_H_ */
```

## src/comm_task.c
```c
/*
 * SPDX-License-Identifier: Apache-2.0
 *
 * Communication task: the DYNAMIXEL bus. The servo driver parses and answers in
 * x430_servo_process() and calls joint_bridge.c, in this thread, for what the
 * registers mean. Between packets the live registers follow the motor.
 */

#include <zephyr/device.h>
#include <zephyr/devicetree.h>
#include <zephyr/kernel.h>

#include <doppelstep/drivers/x430_servo.h>

#include "app_tasks.h"
#include "joint_bridge.h"
#include "supervisor.h"

static const struct device *const servo = DEVICE_DT_GET(DT_CHOSEN(sfs_servo));

static void comm_task(void *p1, void *p2, void *p3)
{
	int64_t next_refresh = k_uptime_get() + CONFIG_SFS_DXL_POLL_MS;

	ARG_UNUSED(p1);
	ARG_UNUSED(p2);
	ARG_UNUSED(p3);

	for (;;) {
		(void)x430_servo_process(servo, K_MSEC(CONFIG_SFS_DXL_POLL_MS));
		supervisor_checkin(SUPERVISOR_COMM);

		const int64_t now = k_uptime_get();

		if (now >= next_refresh) {
			/* After a long packet or an EEPROM write: one refresh, not a burst */
			next_refresh += CONFIG_SFS_DXL_POLL_MS;
			if (next_refresh <= now) {
				next_refresh = now + CONFIG_SFS_DXL_POLL_MS;
			}
			joint_bridge_refresh();
		}
	}
}

K_THREAD_DEFINE(comm_task_id, CONFIG_SFS_COMM_THREAD_STACK_SIZE, comm_task, NULL, NULL, NULL,
		CONFIG_SFS_COMM_THREAD_PRIORITY, 0, K_TICKS_FOREVER);
```

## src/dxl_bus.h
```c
/*
 * SPDX-License-Identifier: Apache-2.0
 *
 * DYNAMIXEL Protocol 2.0 transport: one emulated XM430-W350 (X430 Control
 * Table emulator) on the UART chosen as "sfs,dxl-uart", mapped onto the
 * Stepper-C motor (motor.h) through the unit conversions of joint.h.
 */

#ifndef SFS_DXL_BUS_H
#define SFS_DXL_BUS_H

#ifdef __cplusplus
extern "C" {
#endif

/** Initialise NVM, the emulated device and the UART, and start the bus thread. */
int dxl_bus_init(void);

#ifdef __cplusplus
}
#endif

#endif /* SFS_DXL_BUS_H */
```

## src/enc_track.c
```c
/*
 * SPDX-License-Identifier: Apache-2.0
 *
 * See enc_track.h. Integer arithmetic only (no floating point above the backends).
 */

#include "enc_track.h"

#include <stdlib.h>

/* counts -> microsteps, rounded to the nearest (half away from zero) */
static int32_t to_usteps(const struct enc_track *t, int64_t counts)
{
	const int64_t num = counts * (int64_t)t->cfg.usteps_per_rev;
	const int64_t half = ENC_COUNTS_PER_REV / 2;

	return (int32_t)((num >= 0) ? ((num + half) / ENC_COUNTS_PER_REV)
				    : -((-num + half) / ENC_COUNTS_PER_REV));
}

static int32_t clamp32(int32_t v, int32_t lim)
{
	return (v > lim) ? lim : ((v < -lim) ? -lim : v);
}

int32_t enc_track_init(struct enc_track *t, const struct enc_track_cfg *cfg, uint16_t raw)
{
	*t = (struct enc_track){.cfg = *cfg};
	t->last_raw = raw;
	t->counts = (int16_t)raw; /* half a turn either way */
	t->position = to_usteps(t, t->counts);
	t->valid = true;
	return t->position;
}

void enc_track_sample(struct enc_track *t, uint16_t raw)
{
	/* less than half a turn per period: the shortest way round is the right one */
	t->counts += (int16_t)(uint16_t)(raw - t->last_raw);
	t->last_raw = raw;
	t->failed_reads = 0U;
	t->position = to_usteps(t, t->counts) + t->offset;
}

void enc_track_read_failed(struct enc_track *t)
{
	if (t->failed_reads < UINT8_MAX) {
		t->failed_reads++;
	}
	if (t->failed_reads >= t->cfg.fault_reads) {
		t->fault = true;
		t->valid = false;
		t->aligned = false;
		t->goal_valid = false;
	}
}

void enc_track_shift(struct enc_track *t, int32_t delta_usteps)
{
	t->offset += delta_usteps;
	t->position += delta_usteps;
	t->goal += delta_usteps;
}

void enc_track_set_goal(struct enc_track *t, int32_t goal_usteps)
{
	t->goal = goal_usteps;
	t->goal_valid = true;
	t->correction = 0;
	t->tick = 0U;
	t->correcting = false;
}

void enc_track_clear_goal(struct enc_track *t)
{
	t->goal_valid = false;
	t->correction = 0;
	t->correcting = false;
}

enum enc_action enc_track_step(struct enc_track *t, enum sstep_motor_state state, int32_t commanded,
			       uint32_t gain_milli, int32_t *arg)
{
	if (!t->valid) {
		return ENC_NONE;
	}

	if ((state == SSTEP_MOTOR_DISABLED) || (state == SSTEP_MOTOR_FAULT)) {
		t->aligned = false;
		t->settle = 0U;
		t->correcting = false;
		/* The commanded position follows the shaft (moved by hand, by gravity) */
		if (commanded != t->position) {
			*arg = t->position;
			return ENC_FOLLOW;
		}
		return ENC_NONE;
	}

	if (state != SSTEP_MOTOR_MOVING) {
		t->correcting = false;
	}

	if (!t->aligned) {
		if (state == SSTEP_MOTOR_MOVING) {
			t->settle = 0U; /* align at the next standstill */
			return ENC_NONE;
		}
		if (++t->settle < t->cfg.settle_periods) {
			return ENC_NONE;
		}
		t->aligned = true;
		t->tick = 0U;
		if (commanded != t->position) {
			*arg = t->position;
			return ENC_FOLLOW;
		}
		return ENC_NONE;
	}

	if (abs(commanded - t->position) > t->cfg.lost_threshold) {
		t->lost++;
		t->aligned = false;
		t->settle = 0U;
		t->correction = 0;
		t->correcting = false;
		return ENC_LOST;
	}

	if ((state != SSTEP_MOTOR_HOLDING) || !t->goal_valid || (gain_milli == 0U)) {
		t->tick = 0U;
		return ENC_NONE;
	}
	if (++t->tick < t->cfg.correct_periods) {
		return ENC_NONE;
	}
	t->tick = 0U;

	const int32_t error = t->goal - t->position;
	const int32_t step =
		(int32_t)(((int64_t)error * (int64_t)gain_milli + ((error >= 0) ? 500 : -500)) /
			  1000);

	t->correction = clamp32(t->correction + step, t->cfg.correction_max);
	if ((t->goal + t->correction) != commanded) {
		*arg = t->goal + t->correction;
		t->correcting = true;
		return ENC_CORRECT;
	}
	return ENC_NONE;
}
```

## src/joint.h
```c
/*
 * SPDX-License-Identifier: Apache-2.0
 *
 * Unit conversions between the stepper motor (Stepper-C: microsteps,
 * microsteps/s, microsteps/s^2, mA) and the DYNAMIXEL X430 Control Table
 * (pulse = 360/4096 deg, 0.229 rev/min, 214.577 rev/min^2, 2.69 mA, ms).
 * Pure functions, no state: unit-testable on the host.
 */

#ifndef SFS_JOINT_H
#define SFS_JOINT_H

#include <stdbool.h>
#include <stdint.h>

#ifdef __cplusplus
extern "C" {
#endif

/** X430 position resolution [pulse per joint revolution]. */
#define JOINT_DXL_PULSES_PER_REV 4096

/** Mechanical and register-level parameters of one joint. */
struct joint_cfg {
	uint32_t full_steps_per_rev; /**< Motor full steps per motor revolution. */
	uint32_t microsteps;         /**< Microsteps per full step. */
	uint32_t gear_motor_revs;    /**< Motor revolutions ...          */
	uint32_t gear_joint_revs;    /**< ... per joint revolutions.     */
	int32_t start_position;      /**< Present Position of motor position 0 [pulse]. */
};

/** Register values that change the mapping (cached from the Control Table). */
struct joint_regs {
	uint8_t drive_mode;     /**< Drive Mode (10). */
	int32_t homing_offset;  /**< Homing Offset (20) [pulse]. */
};

/** Motor position [microsteps] to Present Position [pulse]. */
int32_t joint_position_to_dxl(const struct joint_cfg *cfg, const struct joint_regs *regs,
			      int32_t microsteps);

/** Goal Position [pulse] to motor position [microsteps]. */
int32_t joint_position_from_dxl(const struct joint_cfg *cfg, const struct joint_regs *regs,
				int32_t pulses);

/** Motor velocity [microsteps/s] to Present Velocity [0.229 rev/min]. */
int32_t joint_velocity_to_dxl(const struct joint_cfg *cfg, const struct joint_regs *regs,
			      int32_t microsteps_per_s);

/** Goal Velocity [0.229 rev/min] to motor velocity [microsteps/s]. */
int32_t joint_velocity_from_dxl(const struct joint_cfg *cfg, const struct joint_regs *regs,
				int32_t dxl_velocity);

/** Velocity magnitude [0.229 rev/min] (Profile Velocity, Velocity Limit) to [microsteps/s]. */
uint32_t joint_speed_from_dxl(const struct joint_cfg *cfg, uint32_t dxl_velocity);

/** Profile Acceleration [214.577 rev/min^2] to [microsteps/s^2]. */
uint32_t joint_accel_from_dxl(const struct joint_cfg *cfg, uint32_t dxl_accel);

/** Phase current amplitude [mA] to Present Current [2.69 mA]. */
int32_t joint_current_to_dxl(int32_t milliamps);

/**
 * Duty amplitude [0.1 %] to Present PWM [0.113 %]: 885 is 100 % (PWM Limit of the
 * XM430). The sign follows Present Velocity @p dxl_velocity, 0 counts as positive.
 */
int32_t joint_pwm_to_dxl(uint32_t permille, int32_t dxl_velocity);

/** Current Limit [2.69 mA] to [mA]. */
uint32_t joint_current_from_dxl(uint32_t dxl_current);

/** Motion limits of one move. */
struct joint_profile {
	uint32_t v_max; /**< [microsteps/s], >= 1 */
	uint32_t accel; /**< [microsteps/s^2], >= 1 */
};

/**
 * @brief Velocity and acceleration of a position move from the profile
 *        registers, as an X430 interprets them.
 *
 * Velocity-based profile (Drive Mode bit 2 = 0): Profile Velocity in
 * 0.229 rev/min and Profile Acceleration in 214.577 rev/min^2; 0 = no limit.
 * Time-based profile (bit 2 = 1): Profile Velocity is the time of the whole
 * move and Profile Acceleration the acceleration time, both in ms; the
 * acceleration time is limited to half of the move time; 0 = no limit.
 * The result is limited by @p v_cap / @p a_cap and by Velocity Limit (> 0).
 *
 * @param distance        |target - position| [microsteps].
 * @param velocity_limit  Velocity Limit (44) [0.229 rev/min], 0 = none.
 */
struct joint_profile joint_profile(const struct joint_cfg *cfg, const struct joint_regs *regs,
				   uint32_t distance, uint32_t profile_velocity,
				   uint32_t profile_acceleration, uint32_t velocity_limit,
				   uint32_t v_cap, uint32_t a_cap);

#ifdef __cplusplus
}
#endif

#endif /* SFS_JOINT_H */
```
